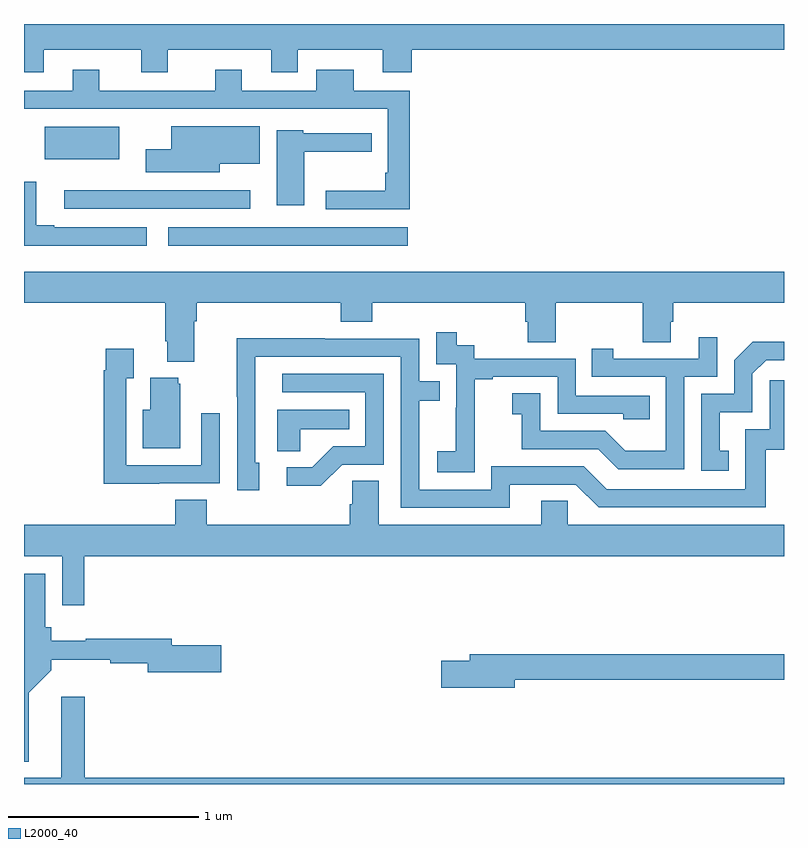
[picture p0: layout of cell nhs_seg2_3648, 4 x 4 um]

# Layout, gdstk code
import gdstk
lib = gdstk.Library(unit=1e-6, precision=1e-09)
def R(c, l, rs):  # rectangles x0, y0, x1, y1
    for r in rs: c.add(gdstk.rectangle(r[:2], r[2:], *l))
def P(c, l, *ps):  # polygons
    for p in ps: c.add(gdstk.Polygon(p, *l))
L2000_40 = (2000, 40)

nhs_seg2_3648 = lib.new_cell('nhs_seg2_3648')
R(nhs_seg2_3648, L2000_40, [(303.759,618.632,305.02,618.729), (303.11,619.088,303.502,619.258)])
P(nhs_seg2_3648, L2000_40, [(303.103,619.664),(303.617,619.664),(303.617,619.547),(303.757,619.547),(303.757,619.664),(304.301,619.664),(304.301,619.547),(304.441,619.547),(304.441,619.664),(304.889,619.664),(304.889,619.547),(305.042,619.547),(305.042,619.664),(307,619.664),(307,619.8),(303,619.8),(303,619.547),(303.103,619.547)],
  [(305.03,619.449),(304.735,619.449),(304.735,619.558),(304.538,619.558),(304.538,619.449),(304.147,619.449),(304.147,619.558),(304.007,619.558),(304.007,619.449),(303.397,619.449),(303.397,619.558),(303.257,619.558),(303.257,619.449),(303,619.449),(303,619.353),(304.914,619.353),(304.914,619.018),(304.902,619.018),(304.902,618.923),(304.587,618.923),(304.587,618.825),(305.03,618.825)],
  [(304.03,619.064),(304.24,619.064),(304.24,619.261),(303.776,619.261),(303.776,619.141),(303.642,619.141),(303.642,619.019),(304.03,619.019)],
  [(304.474,619.127),(304.829,619.127),(304.829,619.224),(304.47,619.224),(304.47,619.24),(304.331,619.24),(304.331,618.846),(304.474,618.846)],
  [(303.646,618.729),(303.16,618.729),(303.16,618.742),(303.064,618.742),(303.064,618.97),(303,618.97),(303,618.632),(303.646,618.632)],
  [(304.192,618.924),(303.498,618.924),(303.498,618.925),(303.213,618.925),(303.213,618.828),(304.192,618.828)],
  [(303.895,618.236),(303.908,618.236),(303.908,618.332),(304.667,618.332),(304.667,618.233),(304.832,618.233),(304.832,618.332),(305.639,618.332),(305.639,618.234),(305.651,618.234),(305.651,618.124),(305.799,618.124),(305.799,618.332),(306.256,618.332),(306.256,618.124),(306.403,618.124),(306.403,618.234),(306.416,618.234),(306.416,618.332),(307,618.332),(307,618.496),(303,618.496),(303,618.332),(303.743,618.332),(303.743,618.13),(303.755,618.13),(303.755,618.023),(303.895,618.023)],
  [(305.373,617.647),(305.372,617.647),(305.372,617.931),(305.467,617.931),(305.467,617.943),(305.808,617.943),(305.808,617.748),(306.153,617.748),(306.153,617.721),(306.293,617.721),(306.293,617.844),(305.904,617.844),(305.904,618.039),(305.37,618.039),(305.37,618.108),(305.278,618.108),(305.278,618.178),(305.169,618.178),(305.169,618.009),(305.274,618.009),(305.274,617.78),(305.273,617.78),(305.273,617.551),(305.175,617.551),(305.175,617.441),(305.373,617.441)],
  [(306.474,617.943),(306.648,617.943),(306.648,618.151),(306.551,618.151),(306.551,618.039),(306.1,618.039),(306.1,618.091),(305.989,618.091),(305.989,617.943),(306.378,617.943),(306.378,617.554),(306.164,617.554),(306.06,617.658),(305.718,617.658),(305.718,617.857),(305.571,617.857),(305.571,617.747),(305.62,617.747),(305.62,617.562),(306.023,617.562),(306.128,617.457),(306.474,617.457)],
  [(305.557,617.376),(305.904,617.376),(306.024,617.256),(306.904,617.256),(306.904,617.559),(307,617.559),(307,617.926),(306.924,617.926),(306.924,617.667),(306.795,617.667),(306.795,617.352),(306.066,617.352),(305.946,617.472),(305.46,617.472),(305.46,617.349),(305.079,617.349),(305.079,617.818),(305.189,617.818),(305.189,617.919),(305.079,617.919),(305.079,618.144),(304.583,618.144),(304.583,618.146),(304.12,618.146),(304.12,617.839),(304.122,617.839),(304.122,617.346),(304.237,617.346),(304.237,617.49),(304.218,617.49),(304.218,618.048),(304.983,618.048),(304.983,617.253),(305.557,617.253)],
  [(306.71,617.553),(306.661,617.553),(306.661,617.757),(306.834,617.757),(306.834,617.958),(306.906,618.03),(307,618.03),(307,618.128),(306.836,618.128),(306.738,618.03),(306.738,617.853),(306.564,617.853),(306.564,617.448),(306.71,617.448)],
  [(303.713,617.382),(304.029,617.382),(304.029,617.752),(303.933,617.752),(303.933,617.478),(303.537,617.478),(303.537,617.935),(303.577,617.935),(303.577,618.091),(303.429,618.091),(303.429,617.978),(303.421,617.978),(303.421,617.381),(303.713,617.381)],
  [(304.674,617.481),(304.893,617.481),(304.893,617.958),(304.359,617.958),(304.359,617.862),(304.797,617.862),(304.797,617.577),(304.628,617.577),(304.517,617.466),(304.383,617.466),(304.383,617.369),(304.561,617.369)],
  [(303.823,617.907),(303.812,617.907),(303.812,617.938),(303.665,617.938),(303.665,617.77),(303.626,617.77),(303.626,617.567),(303.823,617.567)],
  [(304.455,617.666),(304.712,617.666),(304.712,617.77),(304.334,617.77),(304.334,617.551),(304.455,617.551)],
  [(303.317,617),(307,617),(307,617.164),(305.862,617.164),(305.862,617.291),(305.723,617.291),(305.723,617.164),(304.867,617.164),(304.867,617.396),(304.728,617.396),(304.728,617.273),(304.715,617.273),(304.715,617.164),(303.962,617.164),(303.962,617.297),(303.797,617.297),(303.797,617.164),(303,617.164),(303,617),(303.201,617),(303.201,616.74),(303.317,616.74)],
  [(303.025,616.28),(303.143,616.398),(303.143,616.454),(303.454,616.454),(303.454,616.435),(303.65,616.435),(303.65,616.388),(304.039,616.388),(304.039,616.53),(303.778,616.53),(303.778,616.564),(303.326,616.564),(303.326,616.553),(303.143,616.553),(303.143,616.626),(303.112,616.626),(303.112,616.906),(303,616.906),(303,615.917),(303.025,615.917)],
  [(305.584,616.348),(307,616.348),(307,616.484),(305.345,616.484),(305.345,616.448),(305.196,616.448),(305.196,616.306),(305.584,616.306)],
  [(307,615.832),(303.32,615.832),(303.32,616.258),(303.197,616.258),(303.197,615.832),(303,615.832),(303,615.8),(307,615.8)])

lib.write_gds('nhs_seg2_3648.gds')
